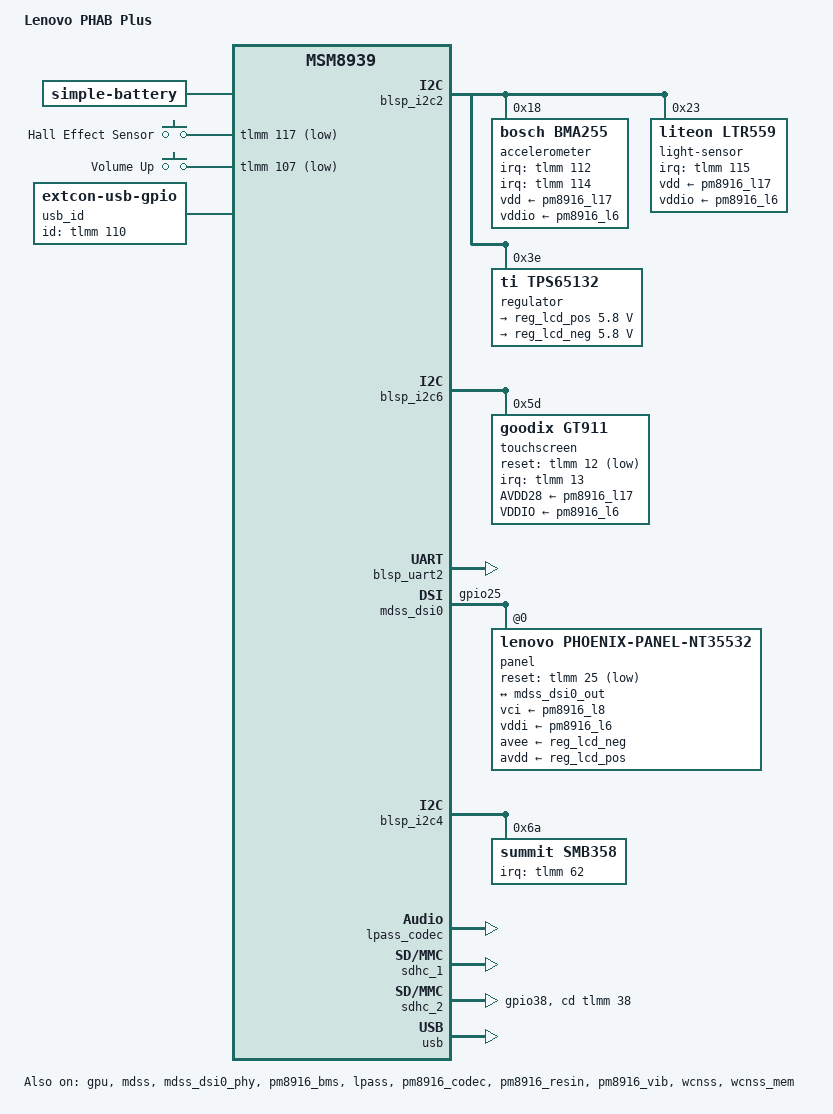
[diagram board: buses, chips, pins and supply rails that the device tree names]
// SPDX-License-Identifier: GPL-2.0-only
/* Lenovo PHAB Plus PB1-770N (phoenix) - initial mainline port, console bringup
 * SoC: MSM8939, panel NT35532 skuk video 1080x1920 (driver in panel/, wired below),
 * touch GT9xx on blsp_i2c6
 * Extracted from downstream boot.img DTB (qcom,msm8939-qrd-skuk / PHOENIX):
 *  - panel: qcom,mdss_dsi_nt35532_1080p_skuk_video, 1080x1920, burst_mode
 *  - touch: goodix,gt9xx @0x5d on i2c@78ba000, reset TLMM 12, irq TLMM 13
 *  - vol_up TLMM 107, hall TLMM 117, sdc2_cd TLMM 38, usb_id TLMM 110
 *  - sensors on i2c: bma2x2@0x18, ltr559@0x23, mmc3524x@0x30, tps65132@0x3e
 */

/dts-v1/;

#include "msm8939-pm8916.dtsi"
#include <dt-bindings/gpio/gpio.h>
#include <dt-bindings/input/input.h>
#include <dt-bindings/leds/common.h>
#include <dt-bindings/sound/apq8016-lpass.h>

/ {
	model = "Lenovo PHAB Plus";
	compatible = "lenovo,phoenix", "qcom,msm8939";
	chassis-type = "handset";

	aliases {
		mmc0 = &sdhc_1; /* SDC1 eMMC slot */
		mmc1 = &sdhc_2; /* SDC2 SD card slot */
		serial0 = &blsp_uart2;
	};

	battery: battery {
		compatible = "simple-battery";
		device-chemistry = "lithium-ion-polymer";
		/* downstream: v-cutoff 3.4V, float 4.35V (pb1770m batterydata,
		 * scud-4v35 profile, fcc 3500mAh). */
		voltage-min-design-microvolt = <3400000>;
		voltage-max-design-microvolt = <4350000>;
		constant-charge-voltage-max-microvolt = <4350000>;
		charge-full-design-microamp-hours = <3500000>;
		/* OCV->SoC: downstream pc-temp-ocv-lut 25C column
		 * (batterydata-qrd-skuk-scud-4v35-3600mah.dtsi).
		 * Without this, ocv2cap returns -EINVAL and capacity reads 0%
		 * -> desktop power managers orderly-shutdown the machine. */
		ocv-capacity-celsius = <25>;
		ocv-capacity-table-0 =
			<4326000 100>, <4259000 95>, <4202000 90>,
			<4149000 85>, <4097000 80>, <4059000 75>,
			<3988000 70>, <3960000 65>, <3916000 60>,
			<3870000 55>, <3840000 50>, <3818000 45>,
			<3801000 40>, <3786000 35>, <3772000 30>,
			<3756000 25>, <3738000 20>, <3718000 16>,
			<3700000 13>, <3690000 11>, <3689000 10>,
			<3688000 9>, <3686000 8>, <3682000 7>,
			<3674000 6>, <3651000 5>, <3608000 4>,
			<3552000 3>, <3478000 2>, <3366000 1>,
			<3128000 0>;
	};

	chosen {
		stdout-path = "serial0";
	};

	reserved-memory {
		qseecom_mem: qseecom@84a00000 {
			reg = <0x0 0x84a00000 0x0 0x1600000>;
			no-map;
		};

		/* downstream pstore region (0x9ff00000, 1M). Vital for
		 * post-mortem: poweroff/power issues leave no serial. */
		ramoops@9ff00000 {
			compatible = "ramoops";
			reg = <0x0 0x9ff00000 0x0 0x100000>;
			record-size = <0x20000>;
			console-size = <0x20000>;
			ftrace-size = <0x00>;
			pmsg-size = <0x20000>;
		};
	};

	gpio-hall-sensor {
		compatible = "gpio-keys";

		pinctrl-0 = <&gpio_hall_sensor_default>;
		pinctrl-names = "default";

		label = "GPIO Hall Effect Sensor";

		event-hall-sensor {
			label = "Hall Effect Sensor";
			gpios = <&tlmm 117 GPIO_ACTIVE_LOW>;
			linux,input-type = <EV_SW>;
			linux,code = <SW_LID>;
			linux,can-disable;
		};
	};

	gpio-keys {
		compatible = "gpio-keys";

		pinctrl-0 = <&gpio_keys_default>;
		pinctrl-names = "default";

		label = "GPIO Buttons";

		button-volume-up {
			label = "Volume Up";
			gpios = <&tlmm 107 GPIO_ACTIVE_LOW>;
			linux,code = <KEY_VOLUMEUP>;
		};
	};

	usb_id: usb-id {
		compatible = "linux,extcon-usb-gpio";
		id-gpios = <&tlmm 110 GPIO_ACTIVE_HIGH>;
		pinctrl-0 = <&usb_id_default>;
		pinctrl-names = "default";
	};
};

&blsp_i2c2 {
	status = "okay";

	/* PB1-770N populated: bma2x2 + ltr559 + mmc3524x (+tps65132).
	 * (full variant list in downstream-pb1770m/msm8939-qrd-pb1770m.dtsi:
	 *  apds9930/mp6050/mc3xxx are NOT populated on this unit.) */

	accelerometer@18 {
		/* downstream bosch,bma2x2, int1=112 int2=114, place=6 */
		compatible = "bosch,bma255";
		reg = <0x18>;

		interrupts-extended = <&tlmm 112 IRQ_TYPE_EDGE_RISING>,
				      <&tlmm 114 IRQ_TYPE_EDGE_RISING>;

		vdd-supply = <&pm8916_l17>;
		vddio-supply = <&pm8916_l6>;

		/* TODO: verify orientation live, then add mount-matrix
		 * (downstream place=6). */

		pinctrl-0 = <&accel_int_default>;
		pinctrl-names = "default";
	};

	light-sensor@23 {
		compatible = "liteon,ltr559";
		reg = <0x23>;

		interrupt-parent = <&tlmm>;
		interrupts = <115 IRQ_TYPE_EDGE_FALLING>;

		pinctrl-0 = <&light_int_default>;
		pinctrl-names = "default";

		vdd-supply = <&pm8916_l17>;
		vddio-supply = <&pm8916_l6>;
	};

	/* memsic,mmc3524x@0x30: no mainline driver (mmc35240 is a
	 * different chip). Skipped, revisit if a driver appears. */

	regulator@3e {
		compatible = "ti,tps65132";
		reg = <0x3e>;

		pinctrl-0 = <&reg_lcd_en_default>;
		pinctrl-names = "default";

		reg_lcd_pos: outp {
			regulator-name = "outp";
			regulator-min-microvolt = <5800000>;
			regulator-max-microvolt = <5800000>;
			/* downstream tps65132-pos = TLMM 97 */
			enable-gpios = <&tlmm 97 GPIO_ACTIVE_HIGH>;
			regulator-active-discharge = <1>;
		};

		reg_lcd_neg: outn {
			regulator-name = "outn";
			regulator-min-microvolt = <5800000>;
			regulator-max-microvolt = <5800000>;
			/* downstream tps65132-neg = TLMM 98 */
			enable-gpios = <&tlmm 98 GPIO_ACTIVE_HIGH>;
			regulator-active-discharge = <1>;
		};
	};
};

&blsp_i2c6 {
	status = "okay";

	touchscreen@5d {
		compatible = "goodix,gt911";
		reg = <0x5d>;
		interrupt-parent = <&tlmm>;
		interrupts = <13 IRQ_TYPE_EDGE_FALLING>;

		reset-gpios = <&tlmm 12 GPIO_ACTIVE_LOW>;

		/* mainline goodix driver mandates AVDD28 + VDDIO.
		 * downstream touch rail assumption: AVDD28 (2.8V) from pm8916_l17,
		 * VDDIO (1.8V) from pm8916_l6. TODO verify against schematics.
		 */
		AVDD28-supply = <&pm8916_l17>;
		VDDIO-supply = <&pm8916_l6>;

		/* downstream: display 1080x1920, panel 1080x2098 */
		touchscreen-size-x = <1080>;
		touchscreen-size-y = <1920>;

		pinctrl-0 = <&touchscreen_default>;
		pinctrl-names = "default";
	};
};

&blsp_uart2 {
	status = "okay";
};

&gpu {
	status = "okay";
};

&mdss {
	status = "okay";
};

&mdss_dsi0 {
	pinctrl-0 = <&mdss_default>;
	pinctrl-1 = <&mdss_sleep>;
	pinctrl-names = "default", "sleep";
	status = "okay";

	panel@0 {
		compatible = "lenovo,phoenix-panel-nt35532";
		reg = <0>;

		/* vci rail assumption: pm8916_l8 (2.95V). TODO verify. */
		vci-supply = <&pm8916_l8>;
		vddi-supply = <&pm8916_l6>;
		avee-supply = <&reg_lcd_neg>;
		avdd-supply = <&reg_lcd_pos>;
		/* downstream platform-reset-gpio = TLMM 25 */
		reset-gpios = <&tlmm 25 GPIO_ACTIVE_LOW>;

		/* NOTE: no backlight node yet (downstream uses DCS brightness).
		 * Driver tolerates absence; brightness stays at bootloader level.
		 */

		port {
			panel_in: endpoint {
				remote-endpoint = <&mdss_dsi0_out>;
			};
		};
	};
};

&mdss_dsi0_out {
	data-lanes = <0 1 2 3>;
	remote-endpoint = <&panel_in>;
};

&mdss_dsi0_phy {
	qcom,dsi-phy-regulator-ldo-mode;
	status = "okay";
};

&blsp_i2c4 {
	/* SMB358 charger (0x6A). Downstream i2c_4 = gpio14/15 = this bus.
	 * Was invisible until now (bus never enabled): i2cdetect showed only
	 * buses 0 (sensors) and 1 (touch). */
	status = "okay";

	smb358: charger@6a {
		compatible = "summit,smb358";
		reg = <0x6a>;
		interrupt-parent = <&tlmm>;
		interrupts = <62 IRQ_TYPE_EDGE_BOTH>;
		monitored-battery = <&battery>;
	};
};

&pm8916_bms {
	monitored-battery = <&battery>;
	/* SMB358 (external charger) reports VBUS; lbc block is dead here. */
	power-supplies = <&smb358>;
	status = "okay";
};

/* Audio: internal codec (SoC digital + PM8916 analog) via LPASS,
 * machine driver qcom,apq8016-sbc-sndcard (nodes from msm8939-pm8916.dtsi).
 * Downstream: qcom,msm8x16-audio-codec internal, micbias1-ext-cap, NO
 * external speaker amp (pb1770m deletes cdc-ext-spk-pa). Template: kiwi. */
&lpass {
	status = "okay";
};

&lpass_codec {
	status = "okay";
};

&pm8916_charger {
	/* Dead on this board (external SMB358 owns USB; 0x1310 frozen).
	 * Disabled to keep dmesg clean; indication comes from smb358. */
	status = "disabled";
};

&pm8916_codec {
	/* downstream qcom,msm-micbias1-ext-cap */
	qcom,micbias1-ext-cap;
	/* micbias voltage for AMIC1/3 (handset/secondary mics on External1).
	 * Missing -> register never programmed -> 0V bias -> mics silent
	 * (AMIC2/headset on Internal2 still made noise, proving TX works). */
	qcom,micbias-lvl = <2800>;
	/* Headset jack is normally-open on this board (detection was inverted
	 * without it: unplug read as plug). Same as kiwi. */
	qcom,hphl-jack-type-normally-open;
	/* MBHC button thresholds borrowed from kiwi (same PM8916 codec,
	 * downstream has no board-specific values; verify with real presses) */
	qcom,mbhc-vthreshold-low = <75 150 237 450 500>;
	qcom,mbhc-vthreshold-high = <75 150 237 450 500>;
	status = "okay";
};

&sound {
	model = "phoenix";
	audio-routing =
		"AMIC1", "MIC BIAS External1",
		"AMIC2", "MIC BIAS Internal2",
		"AMIC3", "MIC BIAS External1";
	/* NOTE: no MI2S pinctrl here. The internal codec path uses PDM
	 * (cdc_pdm, gpio63-68); PRI_MI2S pins (gpio113-116) stay as GPIOs
	 * because downstream puts the ltr559 IRQ on gpio115. Claiming
	 * pri_mi2s here steals 115 and breaks the light sensor (and gains
	 * nothing: there is no external MI2S codec on this board). */
	pinctrl-0 = <&cdc_pdm_default>;
	pinctrl-1 = <&cdc_pdm_sleep>;
	pinctrl-names = "default", "sleep";
	status = "okay";

	dai-link-primary {
		link-name = "Primary MI2S";
		cpu {
			sound-dai = <&lpass MI2S_PRIMARY>;
		};
		codec {
			sound-dai = <&lpass_codec 0>, <&pm8916_codec 0>;
		};
	};

	/* Capture (mics): digital TX1 + analog TX1 behind tertiary MI2S.
	 * Internal path only, no pins needed (same as playback). */
	dai-link-tertiary {
		link-name = "Tertiary MI2S";
		cpu {
			sound-dai = <&lpass MI2S_TERTIARY>;
		};
		codec {
			sound-dai = <&lpass_codec 1>, <&pm8916_codec 1>;
		};
	};
};

&pm8916_resin {
	linux,code = <KEY_VOLUMEDOWN>;
	status = "okay";
};

&pm8916_rpm_regulators {
	pm8916_l8: l8 {
		regulator-min-microvolt = <2950000>;
		regulator-max-microvolt = <2950000>;
	};

	pm8916_l16: l16 {
		regulator-min-microvolt = <1800000>;
		regulator-max-microvolt = <1800000>;
	};

	pm8916_l17: l17 {
		regulator-min-microvolt = <2850000>;
		regulator-max-microvolt = <2850000>;
	};
};

&pm8916_vib {
	status = "okay";
};

&sdhc_1 {
	status = "okay";
};

&sdhc_2 {
	pinctrl-0 = <&sdc2_default &sdc2_cd_default>;
	pinctrl-1 = <&sdc2_sleep &sdc2_cd_default>;
	pinctrl-names = "default", "sleep";

	cd-gpios = <&tlmm 38 GPIO_ACTIVE_HIGH>;

	status = "okay";
};

&usb {
	extcon = <&usb_id>, <&usb_id>;
	status = "okay";
};

&usb_hs_phy {
	extcon = <&usb_id>;
};

&wcnss {
	/* Enabled for future WiFi work, but wcn36xx is blacklisted
	 * (/etc/modprobe.d/wcn36xx.conf) so the PIL never boots and the
	 * crash loop can't wedge rtnl. See WIFI.md. */
	status = "okay";
};

&wcnss_iris {
	/* NOTE: was qcom,wcn3620. Lineage proves dual-band (5GHz assoc
	 * at 433Mbps = VHT), so this must be WCN3680. Rails match 3680
	 * exactly (vddpa 3.3V, vdddig 1.8V). 3620 mode programs the WRONG
	 * XO (19.2 instead of 48MHz) -> RF dead -> zero-RX + watchdog. */
	compatible = "qcom,wcn3680";
	/* RF rails from downstream (iris-vddxo=l7, vddrfa=s3, vddpa=l9, vdddig=l5).
	 * Without these the driver takes dummy regulators, RF stays dark and
	 * NV download times out -> WCNSS watchdog. */
	vddxo-supply = <&pm8916_l7>;
	vddrfa-supply = <&pm8916_s3>;
	vddpa-supply = <&pm8916_l9>;
	vdddig-supply = <&pm8916_l5>;
};

&wcnss_mem {
	status = "okay";
};

&tlmm {
	gpio_hall_sensor_default: gpio-hall-sensor-default-state {
		pins = "gpio117";
		function = "gpio";
		drive-strength = <2>;
		bias-disable;
	};

	gpio_keys_default: gpio-keys-default-state {
		pins = "gpio107";
		function = "gpio";
		drive-strength = <2>;
		bias-pull-up;
	};

	accel_int_default: accel-int-default-state {
		pins = "gpio112", "gpio114";
		function = "gpio";
		drive-strength = <2>;
		bias-disable;
	};

	light_int_default: light-int-default-state {
		pins = "gpio115";
		function = "gpio";
		drive-strength = <2>;
		bias-disable;
	};

	mdss_default: mdss-default-state {
		pins = "gpio25";
		function = "gpio";
		drive-strength = <8>;
		bias-disable;
	};

	mdss_sleep: mdss-sleep-state {
		pins = "gpio25";
		function = "gpio";
		drive-strength = <2>;
		bias-pull-down;
	};

	reg_lcd_en_default: reg-lcd-en-default-state {
		pins = "gpio97", "gpio98";
		function = "gpio";
		drive-strength = <2>;
		bias-disable;
	};

	sdc2_cd_default: sdc2-cd-default-state {
		pins = "gpio38";
		function = "gpio";
		drive-strength = <2>;
		bias-disable;
	};

	touchscreen_default: touchscreen-default-state {
		pins = "gpio12", "gpio13";
		function = "gpio";
		drive-strength = <2>;
		bias-disable;
	};

	usb_id_default: usb-id-default-state {
		pins = "gpio110";
		function = "gpio";
		drive-strength = <8>;
		bias-pull-up;
	};
};
